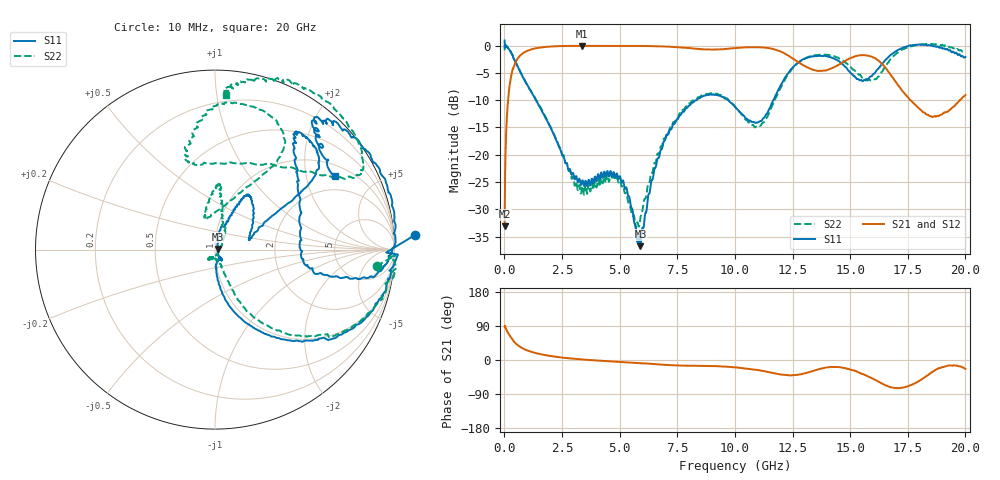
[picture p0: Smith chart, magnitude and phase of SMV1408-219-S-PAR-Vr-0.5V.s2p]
! Skyworks SMV1408-219 De-embedded S-Parameter Data
! Created  11-5-2013
! 2 Port Network Data
! Mounted on Board # SK41159-3 Rev 1 in Series, Cathode is connected to RF1 as Input( Pin 1) and Anode is connected RF2 as Output(Pin 2)
! Temperature = +25 °C
! RF traces and connectors are de-embedded using TRL calibration and standards
! Reference planes are package pins
! Pin 1 Input port (S-Port1), Pin 2 Output port (S-port2)
! Pin = 0 dBm, Bias: Vr = 0.5V
! Dev # 1
#  HZ  S  DB  R  50.00
! Rohde & Schwarz ZVA24 4Ports - Version 2.90 - 1145.1110k26 SN: 100216
! Date: 2013-11-05 15:26:29
! Measurements: S11 S21 S12 S22
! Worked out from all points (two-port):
!   2000 points, 10 MHz to 20 GHz, reference 50 ohm
!   highest |S21| = -0.04 dB at 3.36 GHz (marker M1); lowest = -33.1 dB at 10 MHz (marker M2)
!   |S21| within 3 dB of the highest: 485.3 MHz to 12.76 GHz (12.28 GHz wide, 185 % of centre); 14.69 GHz to 16.31 GHz (1.621 GHz wide, 10.5 % of centre)
!   lowest |S11| = -36.7 dB at 5.9 GHz (marker M3), VSWR 1.03, Z = 51.4 + j0.39 ohm
!   |S11| at or under -10 dB: 1.366 GHz to 8.337 GHz (6.971 GHz wide, 144 % of centre); 9.703 GHz to 11.67 GHz (1.967 GHz wide, 18.4 % of centre)
!   |S22| runs from -33.5 to 0.3 dB; largest |S21 - S12| = 0.033
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1e7  0.94 4.1  -33.12 88.5  -33.76 86.8  -0.87 -5.8
1.9e8  -0.58 -21.9  -8.65 68.6  -8.67 68.6  -0.59 -21.7
5.2e8  -3.36 -48.1  -2.79 42.3  -2.80 42.1  -3.31 -45.0
1.41e9  -10.28 -76.6  -0.45 17.5  -0.46 17.5  -10.16 -65.4
3.35e9  -25.26 -65.1  -0.05 1.7  -0.05 1.5  -26.54 -102.5
3.36e9  -25.04 -65.2  -0.04 1.6  -0.05 1.5  -26.18 -102.2
4.95e9  -24.42 -60.9  -0.05 -4.9  -0.07 -5.0  -25.07 -113.3
5.9e9  -36.74 15.1  -0.06 -8.5  -0.07 -8.2  -31.64 2.2
6.68e9  -20.63 75.1  -0.12 -11.7  -0.12 -11.4  -19.90 60.8
8.33e9  -10.03 61.6  -0.57 -15.4  -0.59 -15.4  -9.76 85.1
1.001e10  -11.23 38.8  -0.45 -19.3  -0.45 -19.4  -11.21 97.0
1.107e10  -13.87 16.0  -0.32 -27.3  -0.32 -27.0  -14.70 101.7
1.259e10  -3.67 35.3  -2.57 -39.9  -2.58 -40.1  -3.75 55.4
1.334e10  -1.96 45.4  -4.35 -29.7  -4.35 -29.3  -1.89 67.2
1.439e10  -2.55 52.9  -3.78 -18.4  -3.78 -18.8  -2.09 91.4
1.55e10  -6.37 6.0  -1.74 -36.5  -1.76 -34.2  -5.78 107.1
1.604e10  -5.13 -11.3  -2.23 -51.1  -2.23 -50.7  -6.25 81.9
1.667e10  -2.04 -11.7  -4.82 -69.8  -4.82 -69.7  -3.02 36.4
1.758e10  0.06 2.2  -9.86 -67.5  -9.85 -67.3  -0.27 33.0
1.889e10  -0.41 46.6  -12.75 -21.4  -12.74 -20.5  0.16 68.2
1.941e10  -1.23 50.0  -11.44 -14.6  -11.45 -14.2  -0.31 79.4
2e10  -2.10 31.5  -9.05 -23.3  -9.04 -22.8  -1.27 86.0
